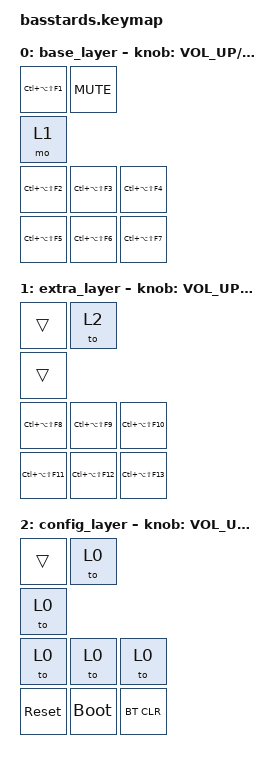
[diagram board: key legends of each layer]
#include <behaviors.dtsi>
#include <dt-bindings/zmk/keys.h>
#include <dt-bindings/zmk/bt.h>
#include <dt-bindings/zmk/mouse.h>

/ {    
    keymap {
        compatible = "zmk,keymap";
            
        base_layer {
            sensor-bindings = <&inc_dec_kp C_VOL_UP C_VOL_DN>;
            bindings = <
                &kp LC(LA(LS(F1)))  &kp C_MUTE           
                &mo 1                                 
                &kp LC(LA(LS(F2)))  &kp LC(LA(LS(F3)))   &kp LC(LA(LS(F4))) 
                &kp LC(LA(LS(F5)))  &kp LC(LA(LS(F6)))   &kp LC(LA(LS(F7))) 
            >;
        }; 
        
        extra_layer {
            sensor-bindings = <&inc_dec_kp C_VOL_UP C_VOL_DN>;
            bindings = <
                &trans               &to 2            
                &trans                                   
                &kp LC(LA(LS(F8)))   &kp LC(LA(LS(F9)))   &kp LC(LA(LS(F10))) 
                &kp LC(LA(LS(F11)))  &kp LC(LA(LS(F12)))  &kp LC(LA(LS(F13))) 
            >;
        }; 
        
        config_layer {
            sensor-bindings = <&inc_dec_kp C_VOL_UP C_VOL_DN>;
            bindings = <
                &trans              &to 0               
                &to 0                                
                &to 0               &to 0                &to 0 
                &sys_reset          &bootloader          &bt BT_CLR
            >;
        }; 

    };
};
